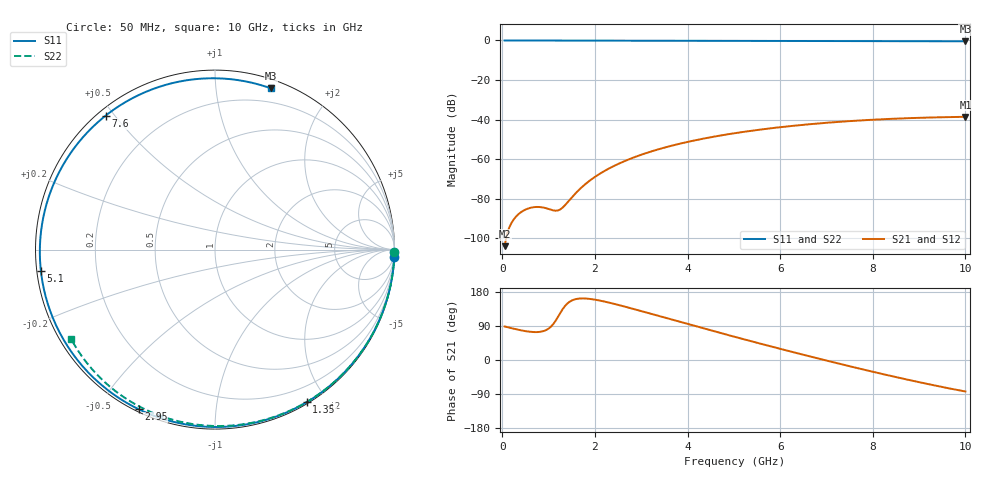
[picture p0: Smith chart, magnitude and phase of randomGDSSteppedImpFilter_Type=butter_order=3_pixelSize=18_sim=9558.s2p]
! freq	dB(S11)	phase(S11)	dB(S12)	phase(S12)
!  dB(S21)	phase(S21)	dB(S22)	phase(S22)
!S-par simulation data
#  GHz  S  DB  R 50
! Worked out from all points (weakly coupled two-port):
!   200 points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, 50 MHz to 10 GHz, reference 50 ohm
!   highest |S21| = -38.62 dB at 10 GHz (marker M1); lowest = -104.0 dB at 50 MHz (marker M2)
!   lowest |S11| = -0.4 dB at 10 GHz (marker M3), VSWR 39.66, Z = 3.74 + j70 ohm
!   |S11| at or under -10 dB: nowhere
!   |S22| runs from -0.5 to 0.0 dB; largest |S21 - S12| = 0
!   S11 on the Smith chart (normalised r, x): 50 MHz: 0, -50; 1.35 GHz: 0.02, -1.77; 2.95 GHz: 0.01, -0.63; 5.1 GHz: 0.01, -0.06; 7.6 GHz: 0.02, +0.47; 10 GHz: 0.07, +1.40
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0.05  -0.00 -2.3  -104.02 88.6  -104.02 88.6  -0.00 -0.9
0.35  -0.02 -15.9  -87.83 79.7  -87.83 79.7  -0.01 -6.0
0.65  -0.04 -29.3  -84.41 73.9  -84.41 73.9  -0.01 -11.0
1  -0.06 -44.5  -85.22 82.9  -85.22 82.9  -0.02 -16.9
1.35  -0.07 -59.0  -83.41 141.9  -83.41 141.9  -0.03 -22.8
1.45  -0.08 -63.0  -80.73 153.4  -80.73 153.4  -0.03 -24.5
1.5  -0.08 -65.0  -79.39 156.9  -79.39 156.9  -0.03 -25.3
1.75  -0.09 -74.6  -73.51 162.5  -73.51 162.5  -0.04 -29.4
2  -0.10 -83.9  -69.00 159.3  -69.00 159.3  -0.04 -33.6
2.25  -0.10 -92.8  -65.42 153.0  -65.42 153.0  -0.05 -37.6
2.6  -0.11 -104.5  -61.42 142.3  -61.42 142.3  -0.06 -43.3
2.95  -0.12 -115.6  -58.20 130.8  -58.20 130.8  -0.06 -48.9
3.4  -0.14 -129.0  -54.85 115.5  -54.85 115.5  -0.07 -55.9
4.2  -0.16 -150.7  -50.31 88.3  -50.31 88.3  -0.10 -68.2
5.05  -0.20 -171.8  -46.78 60.1  -46.78 60.1  -0.12 -80.8
5.1  -0.20 -173.0  -46.61 58.5  -46.61 58.5  -0.13 -81.5
5.9  -0.24 168.3  -44.13 32.7  -44.13 32.7  -0.16 -93.0
6.7  -0.28 150.0  -42.23 7.7  -42.23 7.7  -0.20 -104.1
7.6  -0.32 129.3  -40.63 -19.4  -40.63 -19.4  -0.26 -116.3
8.35  -0.36 111.6  -39.69 -40.9  -39.69 -40.9  -0.33 -126.3
9.2  -0.40 91.0  -38.99 -63.7  -38.99 -63.7  -0.41 -137.5
10  -0.44 70.9  -38.62 -83.1  -38.62 -83.1  -0.50 -148.1
